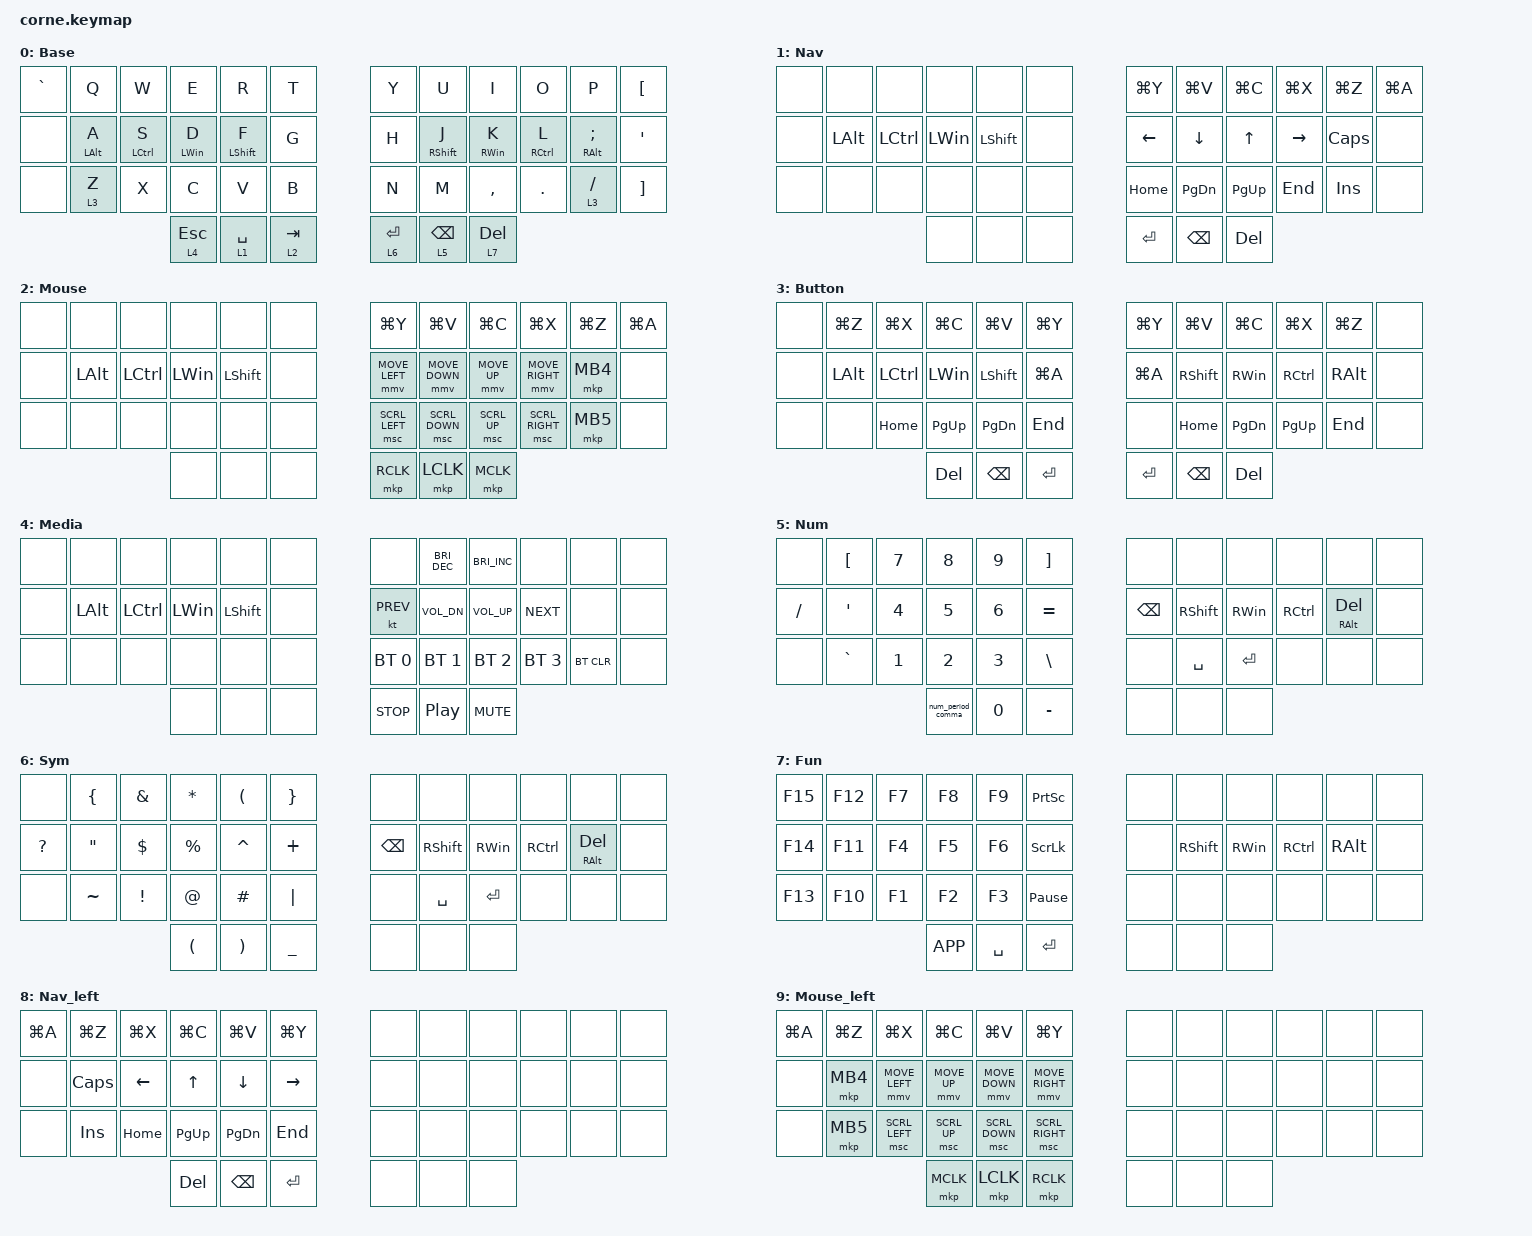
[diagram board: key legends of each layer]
/*
 * Copyright (c) 2020 The ZMK Contributors
 *
 * SPDX-License-Identifier: MIT
 */

#define ZMK_POINTING_DEFAULT_MOVE_VAL 2000  // default: 600
#define ZMK_POINTING_DEFAULT_SCRL_VAL 20    // default: 10

#include <behaviors.dtsi>
#include <dt-bindings/zmk/bt.h>
#include <dt-bindings/zmk/keys.h>
#include <dt-bindings/zmk/pointing.h>

/ {
    combos {
        compatible = "zmk,combos";

        caps_word {
            bindings = <&caps_word>;
            key-positions = <16 19>;
            layers = <0>;
        };

        win_left {
            bindings = <&kp LEFT_WIN>;
            key-positions = <16 15>;
        };

        win_right {
            bindings = <&kp RIGHT_WIN>;
            key-positions = <19 20>;
        };

        go_to_base_left {
            bindings = <&to 0>;
            key-positions = <4 3>;
            layers = <5 6 7 8 9>;
        };

        go_to_base_right {
            bindings = <&to 0>;
            key-positions = <8 7>;
            layers = <1 2 4>;
        };

        constant_nav {
            bindings = <&to 1>;
            key-positions = <37 4>;
            layers = <0>;
        };

        constant_mouse {
            bindings = <&to 2>;
            key-positions = <38 4>;
            layers = <0>;
        };

        constant_media {
            bindings = <&to 4>;
            key-positions = <4 36>;
            layers = <0>;
        };

        constant_num {
            bindings = <&to 5>;
            key-positions = <7 40>;
            layers = <0>;
        };

        constant_sym {
            bindings = <&to 6>;
            key-positions = <7 39>;
            layers = <0>;
        };

        constant_fun {
            bindings = <&to 7>;
            key-positions = <41 7>;
        };

        go_to_num {
            bindings = <&to 5>;
            key-positions = <37 28>;
            layers = <0>;
        };

        go_to_sym {
            bindings = <&to 6>;
            key-positions = <38 28>;
            layers = <0>;
        };

        go_to_fun {
            bindings = <&to 7>;
            key-positions = <36 28>;
            layers = <0>;
        };

        go_to_nav {
            bindings = <&to 1>;
            key-positions = <31 40>;
            layers = <0>;
        };

        go_to_mouse {
            bindings = <&to 2>;
            key-positions = <31 39>;
            layers = <0>;
        };

        go_to_media {
            bindings = <&to 2>;
            key-positions = <31 41>;
            layers = <0>;
        };

        go_to_left_nav {
            bindings = <&to 8>;
            key-positions = <17 37>;
            layers = <0>;
        };

        go_to_left_mouse {
            bindings = <&to 9>;
            key-positions = <17 38>;
            layers = <0>;
        };

        command_grave {
            bindings = <&kp LG(GRAVE)>;
            key-positions = <3 2>;
        };
    };

    behaviors {
        hrm: hrm {
            compatible = "zmk,behavior-hold-tap";
            #binding-cells = <2>;
            flavor = "balanced";
            tapping-term-ms = <200>;
            quick-tap-ms = <200>;
            bindings = <&kp>, <&kp>;
        };

        hmm: hmm {
            compatible = "zmk,behavior-hold-tap";
            bindings = <&mo>, <&kp>;

            #binding-cells = <2>;
            tapping-term-ms = <200>;
            quick-tap-ms = <200>;
            flavor = "balanced";
        };

        num_period_comma: num_period_comma {
            compatible = "zmk,behavior-tap-dance";
            label = "NUM_PERIOD_COMMA";
            #binding-cells = <0>;
            bindings = <&kp PERIOD>, <&kp COMMA>;
        };
    };

    keymap {
        compatible = "zmk,keymap";

        Base {
            // -----------------------------------------------------------------------------------------
            // |  TAB |  Q  |  W  |  E  |  R  |  T  |   |  Y  |  U   |  I  |  O  |  P  | BKSP |
            // | CTRL |  A  |  S  |  D  |  F  |  G  |   |  H  |  J   |  K  |  L  |  ;  |  '   |
            // | SHFT |  Z  |  X  |  C  |  V  |  B  |   |  N  |  M   |  ,  |  .  |  /  | ESC  |
            //                    | GUI | LWR | SPC |   | ENT | RSE  | ALT |

            bindings = <
&kp GRAVE  &kp Q            &kp W         &kp E            &kp R              &kp T         &kp Y         &kp U               &kp I             &kp O         &kp P                &kp LEFT_BRACKET
&none      &hrm LEFT_ALT A  &hrm LCTRL S  &hrm LEFT_WIN D  &hrm LEFT_SHIFT F  &kp G         &kp H         &hrm RIGHT_SHIFT J  &hrm RIGHT_WIN K  &hrm RCTRL L  &hrm RIGHT_ALT SEMI  &kp SQT
&none      &hmm 3 Z         &kp X         &kp C            &kp V              &kp B         &kp N         &kp M               &kp COMMA         &kp DOT       &hmm 3 SLASH         &kp RIGHT_BRACKET
                                          &hmm 4 ESCAPE    &hmm 1 SPACE       &hmm 2 TAB    &hmm 6 ENTER  &hmm 5 BACKSPACE    &hmm 7 DELETE
            >;
        };

        Nav {
            bindings = <
&none  &none         &none      &none         &none           &none    &kp LG(Y)  &kp LG(V)      &kp LG(C)    &kp LG(X)  &kp LG(Z)     &kp LG(A)
&none  &kp LEFT_ALT  &kp LCTRL  &kp LEFT_WIN  &kp LEFT_SHIFT  &none    &kp LEFT   &kp DOWN       &kp UP       &kp RIGHT  &kp CAPSLOCK  &none
&none  &none         &none      &none         &none           &none    &kp HOME   &kp PAGE_DOWN  &kp PAGE_UP  &kp END    &kp INSERT    &none
                                &none         &none           &none    &kp ENTER  &kp BACKSPACE  &kp DELETE
            >;
        };

        Mouse {
            bindings = <
&none  &none         &none      &none         &none           &none    &kp LG(Y)       &kp LG(V)       &kp LG(C)     &kp LG(X)        &kp LG(Z)  &kp LG(A)
&none  &kp LEFT_ALT  &kp LCTRL  &kp LEFT_WIN  &kp LEFT_SHIFT  &none    &mmv MOVE_LEFT  &mmv MOVE_DOWN  &mmv MOVE_UP  &mmv MOVE_RIGHT  &mkp MB4   &none
&none  &none         &none      &none         &none           &none    &msc SCRL_LEFT  &msc SCRL_DOWN  &msc SCRL_UP  &msc SCRL_RIGHT  &mkp MB5   &none
                                &none         &none           &none    &mkp RCLK       &mkp LCLK       &mkp MCLK
            >;
        };

        Button {
            bindings = <
&none  &kp LG(Z)     &kp LG(X)  &kp LG(C)     &kp LG(V)       &kp LG(Y)    &kp LG(Y)  &kp LG(V)        &kp LG(C)      &kp LG(X)    &kp LG(Z)      &none
&none  &kp LEFT_ALT  &kp LCTRL  &kp LEFT_WIN  &kp LEFT_SHIFT  &kp LG(A)    &kp LG(A)  &kp RIGHT_SHIFT  &kp RIGHT_WIN  &kp RCTRL    &kp RIGHT_ALT  &none
&none  &none         &kp HOME   &kp PAGE_UP   &kp PAGE_DOWN   &kp END      &none      &kp HOME         &kp PAGE_DOWN  &kp PAGE_UP  &kp END        &none
                                &kp DELETE    &kp BACKSPACE   &kp ENTER    &kp ENTER  &kp BACKSPACE    &kp DELETE
            >;
        };

        Media {
            bindings = <
&none  &none         &none      &none         &none           &none    &none         &kp C_BRIGHTNESS_DEC  &kp C_BRIGHTNESS_INC  &none         &none       &none
&none  &kp LEFT_ALT  &kp LCTRL  &kp LEFT_WIN  &kp LEFT_SHIFT  &none    &kt C_PREV    &kp C_VOL_DN          &kp C_VOL_UP          &kp C_NEXT    &none       &none
&none  &none         &none      &none         &none           &none    &bt BT_SEL 0  &bt BT_SEL 1          &bt BT_SEL 2          &bt BT_SEL 3  &bt BT_CLR  &none
                                &none         &none           &none    &kp C_STOP    &kp C_PLAY_PAUSE      &kp C_MUTE
            >;
        };

        Num {
            bindings = <
&none      &kp LBKT   &kp N7        &kp N8             &kp N9  &kp RBKT     &none          &none            &none          &none      &none               &none
&kp SLASH  &kp SQT    &kp N4        &kp N5             &kp N6  &kp EQUAL    &kp BACKSPACE  &kp RIGHT_SHIFT  &kp RIGHT_WIN  &kp RCTRL  &hrm RIGHT_ALT DEL  &none
&none      &kp GRAVE  &kp NUMBER_1  &kp N2             &kp N3  &kp BSLH     &none          &kp SPACE        &kp ENTER      &none      &none               &none
                                    &num_period_comma  &kp N0  &kp MINUS    &none          &none            &none
            >;
        };

        Sym {
            bindings = <
&none         &kp LEFT_BRACE     &kp AMPERSAND    &kp ASTERISK          &kp LEFT_PARENTHESIS   &kp RIGHT_BRACE    &none          &none            &none          &none      &none                  &none
&kp QUESTION  &kp DOUBLE_QUOTES  &kp DOLLAR       &kp PERCENT           &kp CARET              &kp PLUS           &kp BACKSPACE  &kp RIGHT_SHIFT  &kp RIGHT_WIN  &kp RCTRL  &hrm RIGHT_ALT DELETE  &none
&none         &kp TILDE          &kp EXCLAMATION  &kp AT_SIGN           &kp HASH               &kp PIPE           &none          &kp SPACE        &kp ENTER      &none      &none                  &none
                                                  &kp LEFT_PARENTHESIS  &kp RIGHT_PARENTHESIS  &kp UNDERSCORE     &none          &none            &none
            >;
        };

        Fun {
            bindings = <
&kp F15  &kp F12  &kp F7  &kp F8     &kp F9     &kp PRINTSCREEN    &none  &none            &none          &none      &none          &none
&kp F14  &kp F11  &kp F4  &kp F5     &kp F6     &kp SCROLLLOCK     &none  &kp RIGHT_SHIFT  &kp RIGHT_WIN  &kp RCTRL  &kp RIGHT_ALT  &none
&kp F13  &kp F10  &kp F1  &kp F2     &kp F3     &kp PAUSE_BREAK    &none  &none            &none          &none      &none          &none
                          &kp K_APP  &kp SPACE  &kp ENTER          &none  &none            &none
            >;
        };

        Nav_left {
            bindings = <
&kp LG(A)  &kp LG(Z)  &kp LG(X)       &kp LG(C)     &kp LG(V)       &kp LG(Y)    &none  &none  &none  &none  &none  &none
&none      &kp CAPS   &kp LEFT_ARROW  &kp UP_ARROW  &kp DOWN_ARROW  &kp RIGHT    &none  &none  &none  &none  &none  &none
&none      &kp INS    &kp HOME        &kp PAGE_UP   &kp PAGE_DOWN   &kp END      &none  &none  &none  &none  &none  &none
                                      &kp DEL       &kp BACKSPACE   &kp ENTER    &none  &none  &none
            >;
        };

        Mouse_left {
            bindings = <
&kp LG(A)  &kp LG(Z)  &kp LG(X)       &kp LG(C)     &kp LG(V)       &kp LG(Y)          &none  &none  &none  &none  &none  &none
&none      &mkp MB4   &mmv MOVE_LEFT  &mmv MOVE_UP  &mmv MOVE_DOWN  &mmv MOVE_RIGHT    &none  &none  &none  &none  &none  &none
&none      &mkp MB5   &msc SCRL_LEFT  &msc SCRL_UP  &msc SCRL_DOWN  &msc SCRL_RIGHT    &none  &none  &none  &none  &none  &none
                                      &mkp MCLK     &mkp LCLK       &mkp RCLK          &none  &none  &none
            >;
        };
    };
};

&mmv {
    x-input-code = <INPUT_REL_X>;
    y-input-code = <INPUT_REL_Y>;
    time-to-max-speed-ms = <1000>;
    acceleration-exponent = <1>;
};
